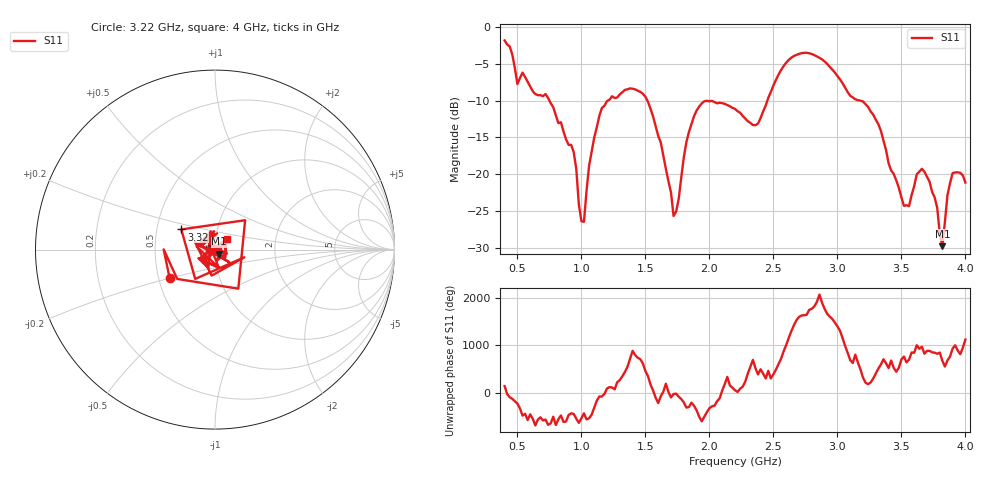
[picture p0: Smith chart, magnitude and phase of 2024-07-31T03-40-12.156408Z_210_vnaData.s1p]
!Created with skrf (http://scikit-rf.org).
# Hz S RI R 50.0
!freq ReS11 ImS11
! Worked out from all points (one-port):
!   181 points, 400 MHz to 4 GHz, reference 50 ohm
!   lowest |S11| = -29.7 dB at 3.82 GHz (marker M1), VSWR 1.07, Z = 52.3 - j2.4 ohm
!   |S11| at or under -10 dB: 749.6 MHz to 1.208 GHz (458.5 MHz wide, 46.8 % of centre); 1.515 GHz to 2.453 GHz (937.9 MHz wide, 47.3 % of centre); 3.173 GHz to end of sweep
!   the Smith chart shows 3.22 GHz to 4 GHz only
!   S11 on the Smith chart (normalised r, x): 3.22 GHz: 0.57, -0.20; 3.32 GHz: 0.67, +0.16; 4 GHz: 1.13, +0.13
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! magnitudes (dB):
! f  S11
! 400 MHz  -1.9
! 500 MHz  -7.8
! 720 MHz  -9.1
! 860 MHz  -14.2
! 940 MHz  -17.0
! 980 MHz  -24.1
! 1.02 GHz  -26.4
! 1.06 GHz  -18.8
! 1.14 GHz  -12.1
! 1.3 GHz  -9.2
! 1.5 GHz  -9.5
! 1.62 GHz  -15.7
! 1.72 GHz  -25.6
! 1.76 GHz  -23.3
! 1.82 GHz  -15.6
! 1.9 GHz  -11.4
! 2.2 GHz  -11.1
! 2.38 GHz  -13.1
! 2.66 GHz  -4.0
! 3.1 GHz  -9.4
! 3.22 GHz  -10.5
! 3.32 GHz  -13.2
! 3.56 GHz  -24.3
! 3.68 GHz  -19.7
! 3.78 GHz  -24.6
! 3.82 GHz  -29.7
! 3.9 GHz  -19.8
! 4 GHz  -21.1
